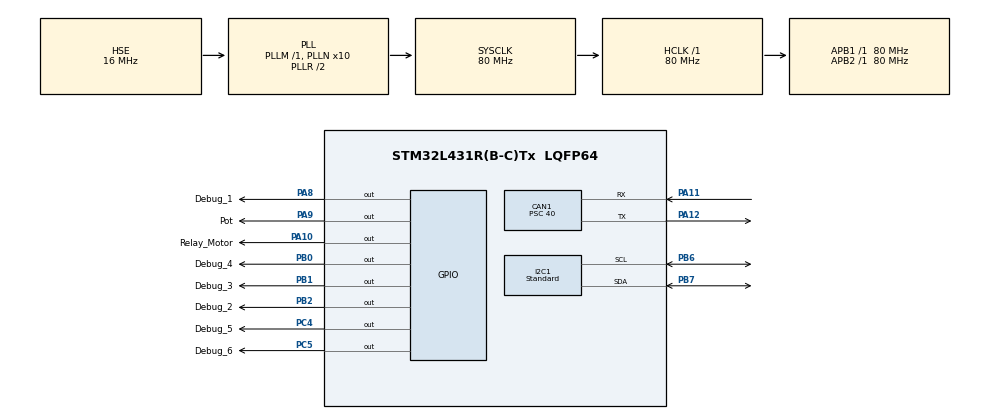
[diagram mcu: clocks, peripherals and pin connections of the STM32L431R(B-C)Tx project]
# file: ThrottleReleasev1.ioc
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CAN1.AWUM=DISABLE
CAN1.BS1=CAN_BS1_13TQ
CAN1.BS2=CAN_BS2_2TQ
CAN1.CalculateBaudRate=125000
CAN1.CalculateTimeBit=8000
CAN1.CalculateTimeQuantum=500.0
CAN1.Mode=CAN_MODE_NORMAL
CAN1.NART=DISABLE
CAN1.Prescaler=40
CAN1.SJW=CAN_SJW_1TQ
FREERTOS.Tasks01=defaultTask,24,128,StartDefaultTask,Default,NULL,Dynamic,NULL,NULL;TaskCanRx,24,128,can_rx,Default,NULL,Dynamic,NULL,NULL;TaskCanTx,8,128,can_tx,Default,NULL,Dynamic,NULL,NULL;TaskPot,25,128,pot,Default,NULL,Dynamic,NULL,NULL;TaskCarMode,8,128,carmode,Default,NULL,Dynamic,NULL,NULL;TaskError,35,128,can_reset_bus_off,Default,NULL,Dynamic,NULL,NULL
I2C1.I2C_Speed_Mode=I2C_Standard
I2C1.OwnAddress=0
I2C1.Timing=0x10909CEC
Mcu.Family=STM32L4
Mcu.Name=STM32L431R(B-C)Tx
Mcu.Package=LQFP64
NVIC.PriorityGroup=NVIC_PRIORITYGROUP_4
PA10.GPIO_Label=Relay_Motor
PA10.Signal=GPIO_Output
PA11.GPIO_PuPd=GPIO_NOPULL
PA11.Mode=CAN_Activate
PA11.Signal=CAN1_RX
PA12.Mode=CAN_Activate
PA12.Signal=CAN1_TX
PA8.GPIO_Label=Debug_1
PA8.Signal=GPIO_Output
PA9.GPIO_Label=Pot
PA9.Signal=GPIO_Output
PB0.GPIO_Label=Debug_4
PB0.Signal=GPIO_Output
PB1.GPIO_Label=Debug_3
PB1.Signal=GPIO_Output
PB2.GPIO_Label=Debug_2
PB2.Signal=GPIO_Output
PB6.Mode=I2C
PB6.Signal=I2C1_SCL
PB7.Mode=I2C
PB7.Signal=I2C1_SDA
PC4.GPIO_Label=Debug_5
PC4.Signal=GPIO_Output
PC5.GPIO_Label=Debug_6
PC5.Signal=GPIO_Output
PH0-OSC_IN\ (PH0).Mode=HSE-External-Oscillator
PH0-OSC_IN\ (PH0).Signal=RCC_OSC_IN
PH1-OSC_OUT\ (PH1).Mode=HSE-External-Oscillator
PH1-OSC_OUT\ (PH1).Signal=RCC_OSC_OUT
ProjectManager.HeapSize=0x200
ProjectManager.StackSize=0x400
ProjectManager.TargetToolchain=STM32CubeIDE
RCC.ADCFreq_Value=64000000
RCC.AHBFreq_Value=80000000
RCC.APB1Freq_Value=80000000
RCC.APB1TimFreq_Value=80000000
RCC.APB2Freq_Value=80000000
RCC.APB2TimFreq_Value=80000000
RCC.CortexFreq_Value=80000000
RCC.HCLKFreq_Value=80000000
RCC.HSE_VALUE=16000000
RCC.HSI48_VALUE=48000000
RCC.HSI_VALUE=16000000
RCC.LSE_VALUE=32768
RCC.MSIClockRange=RCC_MSIRANGE_8
RCC.MSI_VALUE=16000000
RCC.PLLN=10
RCC.PLLSourceVirtual=RCC_PLLSOURCE_HSE
RCC.SYSCLKFreq_VALUE=80000000
RCC.SYSCLKSource=RCC_SYSCLKSOURCE_PLLCLK
RCC.VCOOutputFreq_Value=160000000
VP_FREERTOS_VS_CMSIS_V2.Mode=CMSIS_V2
board=custom

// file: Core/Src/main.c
/* USER CODE BEGIN Header */
/**
  ******************************************************************************
  * @file           : main.c
  * @brief          : Main program body
  ******************************************************************************
  * @attention
  *
  * Copyright (c) 2023 STMicroelectronics.
  * All rights reserved.
  *
  * This software is licensed under terms that can be found in the LICENSE file
  * in the root directory of this software component.
  * If no LICENSE file comes with this software, it is provided AS-IS.
  *
  ******************************************************************************
  */
/* USER CODE END Header */
#include "main.h"
#include "cmsis_os.h"

/* USER CODE BEGIN Includes */
#include <stdbool.h>
#include "string.h"
/* USER CODE END Includes */

CAN_HandleTypeDef hcan1;

I2C_HandleTypeDef hi2c1;

/* Definitions for defaultTask */
osThreadId_t defaultTaskHandle;
const osThreadAttr_t defaultTask_attributes = {
  .name = "defaultTask",
  .stack_size = 128 * 4,
  .priority = (osPriority_t) osPriorityNormal,
};
/* Definitions for TaskCanRx */
osThreadId_t TaskCanRxHandle;
const osThreadAttr_t TaskCanRx_attributes = {
  .name = "TaskCanRx",
  .stack_size = 128 * 4,
  .priority = (osPriority_t) osPriorityNormal,
};
/* Definitions for TaskCanTx */
osThreadId_t TaskCanTxHandle;
const osThreadAttr_t TaskCanTx_attributes = {
  .name = "TaskCanTx",
  .stack_size = 128 * 4,
  .priority = (osPriority_t) osPriorityLow,
};
/* Definitions for TaskPot */
osThreadId_t TaskPotHandle;
const osThreadAttr_t TaskPot_attributes = {
  .name = "TaskPot",
  .stack_size = 128 * 4,
  .priority = (osPriority_t) osPriorityNormal1,
};
/* Definitions for TaskCarMode */
osThreadId_t TaskCarModeHandle;
const osThreadAttr_t TaskCarMode_attributes = {
  .name = "TaskCarMode",
  .stack_size = 128 * 4,
  .priority = (osPriority_t) osPriorityLow,
};
/* Definitions for TaskError */
osThreadId_t TaskErrorHandle;
const osThreadAttr_t TaskError_attributes = {
  .name = "TaskError",
  .stack_size = 128 * 4,
  .priority = (osPriority_t) osPriorityAboveNormal3,
};

void SystemClock_Config(void);
static void MX_GPIO_Init(void);
static void MX_I2C1_Init(void);
static void MX_CAN1_Init(void);
void StartDefaultTask(void *argument);
void can_rx(void *argument);
void can_tx(void *argument);
void pot(void *argument);
void carmode(void *argument);
void can_reset_bus_off(void *argument);

/* USER CODE BEGIN 0 */
uint8_t pot_position = 71;
uint8_t max_velocity;
uint8_t car_mode = 0;
uint8_t curtis_mode = 0;
bool enable_potentiometer = true;
static const uint8_t DS3502_ADDR = 0x28<<1 ;
static const uint8_t DS3502_MODE_WR = 0x80;
static const uint8_t DS3502_MODE_WR_IVR = 0x00;
static const uint8_t DS3502_REG_WR_IVR = 0x00;
static const uint8_t DS3502_REG_CR = 0x02;
#define SUCCESS_CAN_MSG 0x2
#define FAILURE_CAN_MSG 0x1
uint8_t CarTxData[] = {0x04};
CAN_TxHeaderTypeDef TxHeader;
CAN_RxHeaderTypeDef rxHeader;
uint8_t buf[8];
uint32_t id = 0;
bool transmit_pot =0;
bool transmit_tx=0;
//Jetson Xavier THROTTLE
#define THROTTLE_POS 0x180
#define THROTTLE_MAX 0X181
#define CAR_MODE 0x100
#define CURTIS_MODE 0x101
#define THROTTLE_SEND 0x182
uint32_t TxMailbox;

uint8_t buf_pot[12];
bool getWiper(uint8_t reg,uint8_t *data){
	 buf_pot[0] = reg;
	 buf_pot[1] = data;
	 return HAL_I2C_Master_Transmit(&hi2c1, DS3502_ADDR, buf_pot, 2, 10) == HAL_OK;
}
bool setWiper(uint8_t reg,uint8_t data){
	 buf_pot[0] = reg;
	 buf_pot[1] = data;
	 return HAL_I2C_Master_Transmit(&hi2c1, DS3502_ADDR, buf_pot, 2, 10) == HAL_OK;
}

void can_parse_msg(CAN_RxHeaderTypeDef *header, uint8_t *data){
	if(data == NULL) return;

	id = header->StdId;
	if (id == THROTTLE_POS){
		transmit_pot=1;
		transmit_tx=1;
		pot_position = data[0];
	}
	else if (id == THROTTLE_MAX){
		transmit_pot=1;
		transmit_tx=1;
		max_velocity = data[0] ;
	}
	else if (id == CAR_MODE){
		car_mode =  data[0];

	}
	else if (id == CURTIS_MODE){
		curtis_mode = data[0];
	}
}

void initialize_wiper(){
  uint8_t buf[2];
  // Set default initial value to factory power value
  // TODO Edison test
  uint8_t initialValue = 127;
  if(HAL_I2C_Master_Transmit(&hi2c1, DS3502_ADDR, &initialValue, 1, HAL_MAX_DELAY) != HAL_OK){
    Error_Handler();
  }

  // Write to control register 0x02, mode 0x80
  // (Write to RAM the wiper value)
  uint8_t mode_select = {0x02, 0x80};
  if(HAL_I2C_Master_Transmit(&hi2c1, DS3502_ADDR, &mode_select, 2, HAL_MAX_DELAY) != HAL_OK){
    Error_Handler();
  }
}
/* USER CODE END 0 */

int main(void)
{

  /* MCU Configuration--------------------------------------------------------*/

  /* Reset of all peripherals, Initializes the Flash interface and the Systick. */
  HAL_Init();

  /* Configure the system clock */
  SystemClock_Config();

  /* Initialize all configured peripherals */
  MX_GPIO_Init();
  MX_I2C1_Init();
  MX_CAN1_Init();
  /* USER CODE BEGIN 2 */
	HAL_GPIO_WritePin(Debug_6_GPIO_Port, Debug_6_Pin, GPIO_PIN_RESET);
	HAL_GPIO_WritePin(Debug_5_GPIO_Port, Debug_5_Pin, GPIO_PIN_RESET);
	HAL_GPIO_WritePin(Debug_4_GPIO_Port, Debug_4_Pin, GPIO_PIN_RESET);
	HAL_GPIO_WritePin(Debug_3_GPIO_Port, Debug_3_Pin, GPIO_PIN_RESET);
	HAL_GPIO_WritePin(Debug_2_GPIO_Port, Debug_2_Pin, GPIO_PIN_RESET);
  /* USER CODE END 2 */

  /* Init scheduler */
  osKernelInitialize();

  /* Create the thread(s) */
  /* creation of defaultTask */
  //defaultTaskHandle = osThreadNew(StartDefaultTask, NULL, &defaultTask_attributes);

  /* creation of TaskCanRx */
  TaskCanRxHandle = osThreadNew(can_rx, NULL, &TaskCanRx_attributes);

  /* creation of TaskCanTx */
  TaskCanTxHandle = osThreadNew(can_tx, NULL, &TaskCanTx_attributes);

  /* creation of TaskPot */
  TaskPotHandle = osThreadNew(pot, NULL, &TaskPot_attributes);

  /* creation of TaskCarMode */
  TaskCarModeHandle = osThreadNew(carmode, NULL, &TaskCarMode_attributes);

  /* creation of TaskError */
  TaskErrorHandle = osThreadNew(can_reset_bus_off, NULL, &TaskError_attributes);

  /* Start scheduler */
  osKernelStart();

  /* We should never get here as control is now taken by the scheduler */
  /* Infinite loop */
  while (1)
  {

  }
}

void SystemClock_Config(void)
{
  RCC_OscInitTypeDef RCC_OscInitStruct = {0};
  RCC_ClkInitTypeDef RCC_ClkInitStruct = {0};

  /** Configure the main internal regulator output voltage
  */
  if (HAL_PWREx_ControlVoltageScaling(PWR_REGULATOR_VOLTAGE_SCALE1) != HAL_OK)
  {
    Error_Handler();
  }

  /** Initializes the RCC Oscillators according to the specified parameters
  * in the RCC_OscInitTypeDef structure.
  */
  RCC_OscInitStruct.OscillatorType = RCC_OSCILLATORTYPE_HSE;
  RCC_OscInitStruct.HSEState = RCC_HSE_ON;
  RCC_OscInitStruct.PLL.PLLState = RCC_PLL_ON;
  RCC_OscInitStruct.PLL.PLLSource = RCC_PLLSOURCE_HSE;
  RCC_OscInitStruct.PLL.PLLM = 1;
  RCC_OscInitStruct.PLL.PLLN = 10;
  RCC_OscInitStruct.PLL.PLLP = RCC_PLLP_DIV7;
  RCC_OscInitStruct.PLL.PLLQ = RCC_PLLQ_DIV2;
  RCC_OscInitStruct.PLL.PLLR = RCC_PLLR_DIV2;
  if (HAL_RCC_OscConfig(&RCC_OscInitStruct) != HAL_OK)
  {
    Error_Handler();
  }

  /** Initializes the CPU, AHB and APB buses clocks
  */
  RCC_ClkInitStruct.ClockType = RCC_CLOCKTYPE_HCLK|RCC_CLOCKTYPE_SYSCLK
                              |RCC_CLOCKTYPE_PCLK1|RCC_CLOCKTYPE_PCLK2;
  RCC_ClkInitStruct.SYSCLKSource = RCC_SYSCLKSOURCE_PLLCLK;
  RCC_ClkInitStruct.AHBCLKDivider = RCC_SYSCLK_DIV1;
  RCC_ClkInitStruct.APB1CLKDivider = RCC_HCLK_DIV1;
  RCC_ClkInitStruct.APB2CLKDivider = RCC_HCLK_DIV1;

  if (HAL_RCC_ClockConfig(&RCC_ClkInitStruct, FLASH_LATENCY_4) != HAL_OK)
  {
    Error_Handler();
  }
}

static void MX_CAN1_Init(void)
{

  hcan1.Instance = CAN1;
  hcan1.Init.Prescaler = 40;
  hcan1.Init.Mode = CAN_MODE_NORMAL;
  hcan1.Init.SyncJumpWidth = CAN_SJW_1TQ;
  hcan1.Init.TimeSeg1 = CAN_BS1_13TQ;
  hcan1.Init.TimeSeg2 = CAN_BS2_2TQ;
  hcan1.Init.TimeTriggeredMode = DISABLE;
  hcan1.Init.AutoBusOff = DISABLE;
  hcan1.Init.AutoWakeUp = DISABLE;
  hcan1.Init.AutoRetransmission = DISABLE;
  hcan1.Init.ReceiveFifoLocked = DISABLE;
  hcan1.Init.TransmitFifoPriority = DISABLE;
  if (HAL_CAN_Init(&hcan1) != HAL_OK)
  {
    Error_Handler();
  }
  /* USER CODE BEGIN CAN1_Init 2 */
  CAN_FilterTypeDef canfilterconfig;
  canfilterconfig.FilterActivation = CAN_FILTER_ENABLE;
  canfilterconfig.FilterBank = 3;		// Specify filter bank to use
  canfilterconfig.FilterFIFOAssignment = CAN_FILTER_FIFO0; //Incoming data is saved here
  canfilterconfig.FilterIdHigh = 0x100<<5;//0x000<<5;
  canfilterconfig.FilterIdLow = 0x0000;
  canfilterconfig.FilterMaskIdHigh= 0xF00<<5;//0x600<<5;
  canfilterconfig.FilterMaskIdLow = 0x0000;
  canfilterconfig.FilterMode = CAN_FILTERMODE_IDMASK;
  canfilterconfig.FilterScale = CAN_FILTERSCALE_32BIT;
  canfilterconfig.SlaveStartFilterBank = 15;
  if (HAL_CAN_ConfigFilter(&hcan1, &canfilterconfig) != HAL_OK)
  {
  Error_Handler();
  }
  if(HAL_CAN_Start(&hcan1)!= HAL_OK)
  {
    Error_Handler();
  }

  if (HAL_CAN_ActivateNotification(&hcan1, CAN_IT_RX_FIFO0_MSG_PENDING) != HAL_OK)
  {
  /* Notification Error */
  Error_Handler();
  }
  /* USER CODE END CAN1_Init 2 */

}

static void MX_I2C1_Init(void)
{

  hi2c1.Instance = I2C1;
  hi2c1.Init.Timing = 0x10909CEC;
  hi2c1.Init.OwnAddress1 = 0;
  hi2c1.Init.AddressingMode = I2C_ADDRESSINGMODE_7BIT;
  hi2c1.Init.DualAddressMode = I2C_DUALADDRESS_DISABLE;
  hi2c1.Init.OwnAddress2 = 0;
  hi2c1.Init.OwnAddress2Masks = I2C_OA2_NOMASK;
  hi2c1.Init.GeneralCallMode = I2C_GENERALCALL_DISABLE;
  hi2c1.Init.NoStretchMode = I2C_NOSTRETCH_DISABLE;
  if (HAL_I2C_Init(&hi2c1) != HAL_OK)
  {
    Error_Handler();
  }

  /** Configure Analogue filter
  */
  if (HAL_I2CEx_ConfigAnalogFilter(&hi2c1, I2C_ANALOGFILTER_ENABLE) != HAL_OK)
  {
    Error_Handler();
  }

  /** Configure Digital filter
  */
  if (HAL_I2CEx_ConfigDigitalFilter(&hi2c1, 0) != HAL_OK)
  {
    Error_Handler();
  }

}

static void MX_GPIO_Init(void)
{
  GPIO_InitTypeDef GPIO_InitStruct = {0};

  /* GPIO Ports Clock Enable */
  __HAL_RCC_GPIOH_CLK_ENABLE();
  __HAL_RCC_GPIOC_CLK_ENABLE();
  __HAL_RCC_GPIOB_CLK_ENABLE();
  __HAL_RCC_GPIOA_CLK_ENABLE();

  /*Configure GPIO pin Output Level */
  HAL_GPIO_WritePin(GPIOC, Debug_5_Pin|Debug_6_Pin, GPIO_PIN_RESET);

  /*Configure GPIO pin Output Level */
  HAL_GPIO_WritePin(GPIOB, Debug_4_Pin|Debug_3_Pin|Debug_2_Pin, GPIO_PIN_RESET);

  /*Configure GPIO pin Output Level */
  HAL_GPIO_WritePin(GPIOA, Debug_1_Pin|Pot_Pin|Relay_Motor_Pin, GPIO_PIN_RESET);

  /*Configure GPIO pins : Debug_5_Pin Debug_6_Pin */
  GPIO_InitStruct.Pin = Debug_5_Pin|Debug_6_Pin;
  GPIO_InitStruct.Mode = GPIO_MODE_OUTPUT_PP;
  GPIO_InitStruct.Pull = GPIO_NOPULL;
  GPIO_InitStruct.Speed = GPIO_SPEED_FREQ_LOW;
  HAL_GPIO_Init(GPIOC, &GPIO_InitStruct);

  /*Configure GPIO pins : Debug_4_Pin Debug_3_Pin Debug_2_Pin */
  GPIO_InitStruct.Pin = Debug_4_Pin|Debug_3_Pin|Debug_2_Pin;
  GPIO_InitStruct.Mode = GPIO_MODE_OUTPUT_PP;
  GPIO_InitStruct.Pull = GPIO_NOPULL;
  GPIO_InitStruct.Speed = GPIO_SPEED_FREQ_LOW;
  HAL_GPIO_Init(GPIOB, &GPIO_InitStruct);

  /*Configure GPIO pins : Debug_1_Pin Pot_Pin Relay_Motor_Pin */
  GPIO_InitStruct.Pin = Debug_1_Pin|Pot_Pin|Relay_Motor_Pin;
  GPIO_InitStruct.Mode = GPIO_MODE_OUTPUT_PP;
  GPIO_InitStruct.Pull = GPIO_NOPULL;
  GPIO_InitStruct.Speed = GPIO_SPEED_FREQ_LOW;
  HAL_GPIO_Init(GPIOA, &GPIO_InitStruct);

}

void StartDefaultTask(void *argument)
{
  /* USER CODE BEGIN 5 */
  /* Infinite loop */
  for(;;)
  {
    osDelay(10000);
  }
  /* USER CODE END 5 */
}

void can_rx(void *argument)
{
  /* USER CODE BEGIN can_rx */
  /* Infinite loop */
  for(;;){
		if(HAL_CAN_GetRxFifoFillLevel(&hcan1, CAN_RX_FIFO0) != 0){
				HAL_StatusTypeDef ret = HAL_CAN_GetRxMessage(&hcan1, CAN_RX_FIFO0, &rxHeader, buf);
				if(ret == HAL_OK) {
					can_parse_msg(&rxHeader, buf);
					HAL_GPIO_WritePin(DEBUG_1_GPIO_Port, Debug_1_Pin, GPIO_PIN_SET);
				}
				else{
					HAL_GPIO_WritePin(DEBUG_1_GPIO_Port, Debug_1_Pin, GPIO_PIN_RESET);
				}
			}
    osDelay(20);
  }
  /* USER CODE END can_rx */
}

void can_tx(void *argument)
{
  /* USER CODE BEGIN can_tx */
  /* Infinite loop */
  for(;;)
  {
	  if(transmit_tx){
		  if (HAL_CAN_GetTxMailboxesFreeLevel(&hcan1) != 0) {
			  TxHeader.StdId = THROTTLE_SEND;
			  TxHeader.IDE = CAN_ID_STD;
			  TxHeader.RTR = CAN_RTR_DATA;
			  TxHeader.DLC = 1;
			  TxHeader.TransmitGlobalTime = DISABLE;
			  uint8_t data = SUCCESS_CAN_MSG;
			if(HAL_CAN_AddTxMessage(&hcan1, &TxHeader, &data, &TxMailbox) == HAL_OK) {
        HAL_GPIO_WritePin(Debug_2_GPIO_Port, DEBUG_2_Pin, GPIO_PIN_SET);
		  }else{
			  HAL_GPIO_WritePin(DEBUG_2_GPIO_Port, Debug_2_Pin, GPIO_PIN_RESET);
		  }
			transmit_tx=0;
	  }
    osDelay(20);
  }
  /* USER CODE END can_tx */
}

void pot(void *argument)
{
  /* USER CODE BEGIN pot */
  initialize_wiper();
  /* Infinite loop */
  for(;;){
	//			 Hipotesis 2:
	//			 Conectado desde RL, empieza desde el 0 al 127, funciona bien
			if(car_mode==1){
				HAL_GPIO_WritePin(Relay_Motor_GPIO_Port, Relay_Motor_Pin, GPIO_PIN_SET);
			}else{
				HAL_GPIO_WritePin(Relay_Motor_GPIO_Port, Relay_Motor_Pin, GPIO_PIN_RESET);
			}
			if(curtis_mode==1){
				HAL_GPIO_WritePin(Pot_GPIO_Port, Pot_Pin, GPIO_PIN_SET);
			}else{
				HAL_GPIO_WritePin(Pot_GPIO_Port, Pot_Pin, GPIO_PIN_RESET);
			}
			if(transmit_pot){
				if(pot_position < 24 ){
					HAL_GPIO_WritePin(GPIOB, Debug_3_Pin, GPIO_PIN_SET);
					HAL_GPIO_WritePin(GPIOB, Debug_4_Pin, GPIO_PIN_SET);
					HAL_GPIO_WritePin(GPIOC, Debug_5_Pin, GPIO_PIN_SET);
					HAL_GPIO_WritePin(GPIOC, Debug_6_Pin, GPIO_PIN_SET);
					setWiper(DS3502_REG_WR_IVR,pot_position);
				}
				else if(pot_position < 56){
					HAL_GPIO_WritePin(GPIOB, Debug_3_Pin, GPIO_PIN_SET);
					HAL_GPIO_WritePin(GPIOB, Debug_4_Pin, GPIO_PIN_SET);
					HAL_GPIO_WritePin(GPIOC, Debug_5_Pin, GPIO_PIN_SET);
					HAL_GPIO_WritePin(GPIOC, Debug_6_Pin, GPIO_PIN_RESET);
					setWiper(DS3502_REG_WR_IVR,pot_position);
				}
				else if(pot_position < 70){

					HAL_GPIO_WritePin(GPIOB, Debug_3_Pin, GPIO_PIN_SET);
					HAL_GPIO_WritePin(GPIOB, Debug_4_Pin, GPIO_PIN_SET);
					HAL_GPIO_WritePin(GPIOC, Debug_5_Pin, GPIO_PIN_RESET);
					HAL_GPIO_WritePin(GPIOC, Debug_6_Pin, GPIO_PIN_RESET);
					setWiper(DS3502_REG_WR_IVR,pot_position);
				}
				else if(pot_position < 84){
					HAL_GPIO_WritePin(GPIOB, Debug_3_Pin, GPIO_PIN_SET);
					HAL_GPIO_WritePin(GPIOB, Debug_4_Pin, GPIO_PIN_RESET);
					HAL_GPIO_WritePin(GPIOC, Debug_5_Pin, GPIO_PIN_RESET);
					HAL_GPIO_WritePin(GPIOC, Debug_6_Pin, GPIO_PIN_RESET);
					setWiper(DS3502_REG_WR_IVR,pot_position);
				}
				else if(pot_position < 126){
					HAL_GPIO_WritePin(GPIOB, Debug_3_Pin, GPIO_PIN_RESET);
					HAL_GPIO_WritePin(GPIOB, Debug_4_Pin, GPIO_PIN_RESET);
					HAL_GPIO_WritePin(GPIOC, Debug_5_Pin, GPIO_PIN_RESET);
					HAL_GPIO_WritePin(GPIOC, Debug_6_Pin, GPIO_PIN_RESET);
					setWiper(DS3502_REG_WR_IVR,pot_position);
				}
			}
    }
		osDelay(20);
  }
  /* USER CODE END pot */
}

void carmode(void *argument)
{
  /* USER CODE BEGIN carmode */
  /* Infinite loop */
  for(;;)
  {
    osDelay(1000);
  }
  /* USER CODE END carmode */
}

void can_reset_bus_off(void *argument)
{
  /* USER CODE BEGIN can_reset_bus_off */
  /* Infinite loop */
  for(;;)
  {
	  bool initializingBus = false;

	  // Check for bus off bit
	  if(READ_BIT(hcan1.Instance->ESR, CAN_ESR_BOFF)){
		  // Bus is off!!!! Reset bus
		  SET_BIT(hcan1.Instance->MCR, CAN_MCR_INRQ);
		  initializingBus = true;
	  }
	  if(initializingBus && READ_BIT(hcan1.Instance->MSR,
	  CAN_MSR_INAK)){
		  // Bus is initialized, reset init bit
		  CLEAR_BIT(hcan1.Instance->MCR, CAN_MCR_INRQ);
		  initializingBus = false;
	  }
    osDelay(100);
  }
  /* USER CODE END can_reset_bus_off */
}

void Error_Handler(void)
{
  __disable_irq();
  while (1)
  {
  }
}
